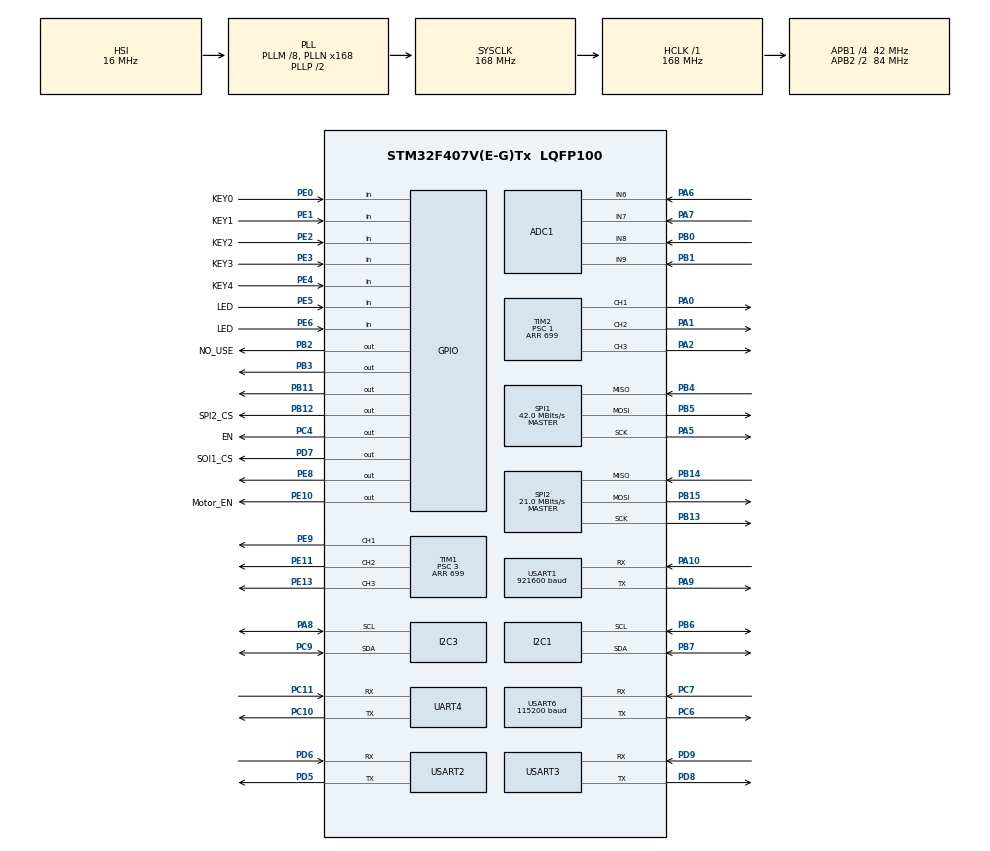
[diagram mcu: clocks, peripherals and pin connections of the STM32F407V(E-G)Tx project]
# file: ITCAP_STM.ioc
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ADC1.Channel-0\#ChannelRegularConversion=ADC_CHANNEL_6
ADC1.Channel-1\#ChannelRegularConversion=ADC_CHANNEL_7
ADC1.Channel-2\#ChannelRegularConversion=ADC_CHANNEL_8
ADC1.Channel-3\#ChannelRegularConversion=ADC_CHANNEL_9
ADC1.ClockPrescaler=ADC_CLOCK_SYNC_PCLK_DIV6
ADC1.ExternalTrigConv=ADC_EXTERNALTRIGCONV_T3_CC1
ADC1.NbrOfConversion=4
ADC1.NbrOfConversionFlag=1
ADC1.Rank-0\#ChannelRegularConversion=1
ADC1.Rank-1\#ChannelRegularConversion=2
ADC1.Rank-2\#ChannelRegularConversion=3
ADC1.Rank-3\#ChannelRegularConversion=4
ADC1.SamplingTime-0\#ChannelRegularConversion=ADC_SAMPLETIME_3CYCLES
ADC1.SamplingTime-1\#ChannelRegularConversion=ADC_SAMPLETIME_3CYCLES
ADC1.SamplingTime-2\#ChannelRegularConversion=ADC_SAMPLETIME_3CYCLES
ADC1.SamplingTime-3\#ChannelRegularConversion=ADC_SAMPLETIME_3CYCLES
ADC1.ScanConvMode=ENABLE
ADC1.master=1
Dma.ADC1.0.Direction=DMA_PERIPH_TO_MEMORY
Dma.ADC1.0.FIFOMode=DMA_FIFOMODE_DISABLE
Dma.ADC1.0.Instance=DMA2_Stream0
Dma.ADC1.0.MemDataAlignment=DMA_MDATAALIGN_HALFWORD
Dma.ADC1.0.MemInc=DMA_MINC_ENABLE
Dma.ADC1.0.Mode=DMA_NORMAL
Dma.ADC1.0.PeriphDataAlignment=DMA_PDATAALIGN_HALFWORD
Dma.ADC1.0.PeriphInc=DMA_PINC_DISABLE
Dma.ADC1.0.Priority=DMA_PRIORITY_HIGH
Dma.Request0=ADC1
Dma.Request1=USART1_TX
Dma.Request2=USART1_RX
Dma.USART1_RX.2.Direction=DMA_PERIPH_TO_MEMORY
Dma.USART1_RX.2.FIFOMode=DMA_FIFOMODE_DISABLE
Dma.USART1_RX.2.Instance=DMA2_Stream2
Dma.USART1_RX.2.MemDataAlignment=DMA_MDATAALIGN_BYTE
Dma.USART1_RX.2.MemInc=DMA_MINC_ENABLE
Dma.USART1_RX.2.Mode=DMA_NORMAL
Dma.USART1_RX.2.PeriphDataAlignment=DMA_PDATAALIGN_BYTE
Dma.USART1_RX.2.PeriphInc=DMA_PINC_DISABLE
Dma.USART1_RX.2.Priority=DMA_PRIORITY_HIGH
Dma.USART1_TX.1.Direction=DMA_MEMORY_TO_PERIPH
Dma.USART1_TX.1.FIFOMode=DMA_FIFOMODE_DISABLE
Dma.USART1_TX.1.Instance=DMA2_Stream7
Dma.USART1_TX.1.MemDataAlignment=DMA_MDATAALIGN_BYTE
Dma.USART1_TX.1.MemInc=DMA_MINC_ENABLE
Dma.USART1_TX.1.Mode=DMA_NORMAL
Dma.USART1_TX.1.PeriphDataAlignment=DMA_PDATAALIGN_BYTE
Dma.USART1_TX.1.PeriphInc=DMA_PINC_DISABLE
Dma.USART1_TX.1.Priority=DMA_PRIORITY_LOW
FREERTOS.Tasks01=defaultTask,24,128,StartDefaultTask,Default,NULL,Dynamic,NULL,NULL
I2C1.I2C_Mode=I2C_Fast
Mcu.Family=STM32F4
Mcu.Name=STM32F407V(E-G)Tx
Mcu.Package=LQFP100
NVIC.DMA2_Stream0_IRQn=true\:5\:0\:false\:false\:true\:true\:false\:true\:true
NVIC.DMA2_Stream2_IRQn=true\:5\:0\:false\:false\:true\:true\:false\:true\:true
NVIC.DMA2_Stream7_IRQn=true\:5\:0\:false\:false\:true\:true\:false\:true\:true
NVIC.PriorityGroup=NVIC_PRIORITYGROUP_4
NVIC.TIM7_IRQn=true\:15\:0\:false\:false\:true\:false\:false\:true\:true
NVIC.TimeBase=TIM7_IRQn
NVIC.TimeBaseIP=TIM7
NVIC.USART1_IRQn=true\:5\:0\:true\:false\:true\:true\:true\:true\:true
NVIC.USART2_IRQn=true\:8\:0\:true\:false\:true\:true\:true\:true\:true
NVIC.USART6_IRQn=true\:8\:0\:true\:false\:true\:true\:true\:true\:true
PA0-WKUP.Signal=S_TIM2_CH1_ETR
PA1.Signal=S_TIM2_CH2
PA10.Mode=Asynchronous
PA10.Signal=USART1_RX
PA13.Mode=Serial_Wire
PA13.Signal=SYS_JTMS-SWDIO
PA14.Mode=Serial_Wire
PA14.Signal=SYS_JTCK-SWCLK
PA2.Signal=S_TIM2_CH3
PA5.Mode=Full_Duplex_Master
PA5.Signal=SPI1_SCK
PA6.Signal=ADCx_IN6
PA7.Signal=ADCx_IN7
PA8.Mode=I2C
PA8.Signal=I2C3_SCL
PA9.Mode=Asynchronous
PA9.Signal=USART1_TX
PB0.Signal=ADCx_IN8
PB1.Signal=ADCx_IN9
PB11.Signal=GPIO_Output
PB12.GPIO_Label=SPI2_CS
PB12.Signal=GPIO_Output
PB13.Mode=Full_Duplex_Master
PB13.Signal=SPI2_SCK
PB14.Mode=Full_Duplex_Master
PB14.Signal=SPI2_MISO
PB15.Mode=Full_Duplex_Master
PB15.Signal=SPI2_MOSI
PB2.GPIO_Label=NO_USE
PB2.Signal=GPIO_Output
PB3.Signal=GPIO_Output
PB4.Mode=Full_Duplex_Master
PB4.Signal=SPI1_MISO
PB5.Mode=Full_Duplex_Master
PB5.Signal=SPI1_MOSI
PB6.Mode=I2C
PB6.Signal=I2C1_SCL
PB7.Mode=I2C
PB7.Signal=I2C1_SDA
PC10.Mode=Asynchronous
PC10.Signal=UART4_TX
PC11.Mode=Asynchronous
PC11.Signal=UART4_RX
PC4.GPIO_Label=EN
PC4.Signal=GPIO_Output
PC6.Mode=Asynchronous
PC6.Signal=USART6_TX
PC7.Mode=Asynchronous
PC7.Signal=USART6_RX
PC9.Mode=I2C
PC9.Signal=I2C3_SDA
PD5.Mode=Asynchronous
PD5.Signal=USART2_TX
PD6.Mode=Asynchronous
PD6.Signal=USART2_RX
PD7.GPIO_Label=SOI1_CS
PD7.Signal=GPIO_Output
PD8.Mode=Asynchronous
PD8.Signal=USART3_TX
PD9.Mode=Asynchronous
PD9.Signal=USART3_RX
PE0.GPIO_Label=KEY0
PE0.Signal=GPIO_Input
PE1.GPIO_Label=KEY1
PE1.Signal=GPIO_Input
PE10.GPIO_Label=Motor_EN
PE10.Signal=GPIO_Output
PE11.Signal=S_TIM1_CH2
PE13.Signal=S_TIM1_CH3
PE2.GPIO_Label=KEY2
PE2.Signal=GPIO_Input
PE3.GPIO_Label=KEY3
PE3.Signal=GPIO_Input
PE4.GPIO_Label=KEY4
PE4.Signal=GPIO_Input
PE5.GPIO_Label=LED
PE5.Signal=GPIO_Input
PE6.GPIO_Label=LED
PE6.Signal=GPIO_Input
PE8.Signal=GPIO_Output
PE9.Signal=S_TIM1_CH1
PH0-OSC_IN.Mode=HSE-External-Oscillator
PH0-OSC_IN.Signal=RCC_OSC_IN
PH1-OSC_OUT.Mode=HSE-External-Oscillator
PH1-OSC_OUT.Signal=RCC_OSC_OUT
ProjectManager.HeapSize=0x200
ProjectManager.StackSize=0x400
ProjectManager.TargetToolchain=CMake
RCC.48MHZClocksFreq_Value=84000000
RCC.AHBFreq_Value=168000000
RCC.APB1CLKDivider=RCC_HCLK_DIV4
RCC.APB1Freq_Value=42000000
RCC.APB1TimFreq_Value=84000000
RCC.APB2CLKDivider=RCC_HCLK_DIV2
RCC.APB2Freq_Value=84000000
RCC.APB2TimFreq_Value=168000000
RCC.CortexFreq_Value=168000000
RCC.HCLKFreq_Value=168000000
RCC.HSE_VALUE=8000000
RCC.HSI_VALUE=16000000
RCC.LSE_VALUE=32768
RCC.PLLM=8
RCC.PLLN=168
RCC.SYSCLKFreq_VALUE=168000000
RCC.SYSCLKSource=RCC_SYSCLKSOURCE_PLLCLK
RCC.VCOOutputFreq_Value=336000000
SH.ADCx_IN6.0=ADC1_IN6,IN6
SH.ADCx_IN7.0=ADC1_IN7,IN7
SH.ADCx_IN8.0=ADC1_IN8,IN8
SH.ADCx_IN9.0=ADC1_IN9,IN9
SH.S_TIM1_CH1.0=TIM1_CH1,PWM Generation1 CH1
SH.S_TIM1_CH2.0=TIM1_CH2,PWM Generation2 CH2
SH.S_TIM1_CH3.0=TIM1_CH3,PWM Generation3 CH3
SH.S_TIM2_CH1_ETR.0=TIM2_CH1,PWM Generation1 CH1
SH.S_TIM2_CH2.0=TIM2_CH2,PWM Generation2 CH2
SH.S_TIM2_CH3.0=TIM2_CH3,PWM Generation3 CH3
SPI1.CalculateBaudRate=42.0 MBits/s
SPI1.Direction=SPI_DIRECTION_2LINES
SPI1.Mode=SPI_MODE_MASTER
SPI1.VirtualType=VM_MASTER
SPI2.CLKPolarity=SPI_POLARITY_LOW
SPI2.CalculateBaudRate=21.0 MBits/s
SPI2.DataSize=SPI_DATASIZE_8BIT
SPI2.Direction=SPI_DIRECTION_2LINES
SPI2.Mode=SPI_MODE_MASTER
SPI2.VirtualType=VM_MASTER
TIM1.Channel-PWM\ Generation1\ CH1=TIM_CHANNEL_1
TIM1.Channel-PWM\ Generation2\ CH2=TIM_CHANNEL_2
TIM1.Channel-PWM\ Generation3\ CH3=TIM_CHANNEL_3
TIM1.CounterMode=TIM_COUNTERMODE_CENTERALIGNED1
TIM1.Period=699
TIM1.Prescaler=3
TIM1.TIM_MasterOutputTrigger=TIM_TRGO_UPDATE
TIM2.Channel-PWM\ Generation1\ CH1=TIM_CHANNEL_1
TIM2.Channel-PWM\ Generation2\ CH2=TIM_CHANNEL_2
TIM2.Channel-PWM\ Generation3\ CH3=TIM_CHANNEL_3
TIM2.CounterMode=TIM_COUNTERMODE_CENTERALIGNED1
TIM2.Period=699
TIM2.Prescaler=1
TIM2.TIM_MasterOutputTrigger=TIM_TRGO_UPDATE
TIM3.Period=3
TIM5.Prescaler=83
UART4.VirtualMode=Asynchronous
USART1.BaudRate=921600
USART1.VirtualMode=VM_ASYNC
USART2.VirtualMode=VM_ASYNC
USART3.VirtualMode=VM_ASYNC
USART6.BaudRate=115200
USART6.OverSampling=UART_OVERSAMPLING_16
USART6.VirtualMode=VM_ASYNC
VP_FREERTOS_VS_CMSIS_V2.Mode=CMSIS_V2
VP_SYS_VS_tim7.Mode=TIM7
VP_TIM10_VS_ClockSourceINT.Mode=Enable_Timer
VP_TIM1_VS_ClockSourceINT.Mode=Internal
VP_TIM2_VS_ClockSourceINT.Mode=Internal
VP_TIM2_VS_ClockSourceITR.Mode=TriggerSource_ITR0
VP_TIM2_VS_ControllerModeReset.Mode=Reset Mode
VP_TIM3_VS_ClockSourceITR.Mode=TriggerSource_ITR0
VP_TIM3_VS_ControllerModeClock.Mode=Clock Mode
VP_TIM5_VS_ClockSourceINT.Mode=Internal
VP_TIM6_VS_ClockSourceINT.Mode=Enable_Timer
board=custom

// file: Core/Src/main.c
/* USER CODE BEGIN Header */
/**
  ******************************************************************************
  * @file           : main.c
  * @brief          : Main program body
  ******************************************************************************
  * @attention
  *
  * Copyright (c) 2026 STMicroelectronics.
  * All rights reserved.
  *
  * This software is licensed under terms that can be found in the LICENSE file
  * in the root directory of this software component.
  * If no LICENSE file comes with this software, it is provided AS-IS.
  *
  ******************************************************************************
  */
/* USER CODE END Header */
#include "main.h"
#include "cmsis_os.h"
#include "adc.h"
#include "dma.h"
#include "i2c.h"
#include "spi.h"
#include "tim.h"
#include "usart.h"
#include "gpio.h"

/* USER CODE BEGIN Includes */
#include "OLED.h"
#include "Serial.h"
#include "app_task.h"
#include "check_I.h"
/* USER CODE END Includes */

/* USER CODE BEGIN PV */
/* USART6 DMA 接收缓冲 (CIRCULAR, 陀螺仪) */
uint8_t uart6_rx_buf[256];

/* USART2 DMA 接收缓冲 (视觉) */
uint8_t uart2_rx_buf[256];

/* USER CODE END PV */

void SystemClock_Config(void);
void MX_FREERTOS_Init(void);
/* USER CODE BEGIN PFP */
void FOC_3_period(void);
/* USER CODE END PFP */

/* USER CODE BEGIN 0 */
uint16_t TimeCounter = 0;
uint16_t Time_ms = 0;
uint8_t bottom = 0;
uint16_t BLDC_Delay = 100;
uint8_t B1_static = 0;
uint8_t B2_static = 0;
uint16_t MyADC_Get[4];
uint16_t MyADC_Get_used[4];

uint16_t test1 =0;
uint16_t test2 =0;
uint16_t test3 =0;
uint16_t test_serial =0;
uint16_t count_vl = 0;
uint16_t Count;
uint16_t FOC_count =0;

float GZ;

uint16_t adc_dma_count;

void HAL_ADC_ConvHalfCpltCallback(ADC_HandleTypeDef* hadc)
{
  if(hadc->Instance == ADC1)
  {
    tim_dif_stop(0);
    I_Check_HalfCplt_Handler();

    FOC_3_period();

    static int adc_count = 0;
    adc_count++;
    if (adc_count >= 38) {
      Sin_control();
      ball_balance();
      adc_dma_count++;
      adc_count = 0;
    }
  }
}

void HAL_ADC_ConvCpltCallback(ADC_HandleTypeDef* hadc)
{
  if(hadc->Instance == ADC1)
  {
    tim_dif_start(0);
    I_Check_Cplt_Handler();
    FOC_3_period();
  }

}

uint16_t tim5_count =0;
/* USER CODE END 0 */

int main(void)
{

  /* MCU Configuration--------------------------------------------------------*/

  /* Reset of all peripherals, Initializes the Flash interface and the Systick. */
  HAL_Init();

  /* Configure the system clock */
  SystemClock_Config();

  /* Initialize all configured peripherals */
  MX_GPIO_Init();
  MX_DMA_Init();
  MX_I2C1_Init();
  MX_I2C3_Init();
  MX_SPI1_Init();
  MX_SPI2_Init();
  MX_TIM1_Init();
  MX_TIM2_Init();
  MX_TIM5_Init();
  MX_USART1_UART_Init();
  MX_USART2_UART_Init();
  MX_ADC1_Init();
  MX_TIM10_Init();
  MX_UART4_Init();
  MX_USART3_UART_Init();
  MX_USART6_UART_Init();
  MX_TIM6_Init();
  MX_TIM3_Init();
  /* USER CODE BEGIN 2 */
  HAL_GPIO_WritePin(GPIOA, GPIO_PIN_4, GPIO_PIN_SET);

  // HAL_ADC_Start(&hadc1);
  // HAL_TIM_Base_Start_IT(&htim2);
  // HAL_TIM_Base_Start_IT(&htim5); // 不再需要 TIM5, 改用 TIM3 触发 ADC

  I_Check_Init();
  I_Check_Start();

  // MT6816_Init();
  /* V3P 驱动使能 PE8 (DRV8313 共用一个 EN) */
  __HAL_RCC_GPIOE_CLK_ENABLE();
  GPIO_InitTypeDef en_gpio = {0};
  en_gpio.Pin   = GPIO_PIN_8;
  en_gpio.Mode  = GPIO_MODE_OUTPUT_PP;
  en_gpio.Pull  = GPIO_NOPULL;
  en_gpio.Speed = GPIO_SPEED_FREQ_LOW;
  HAL_GPIO_Init(GPIOE, &en_gpio);
  HAL_GPIO_WritePin(GPIOE, GPIO_PIN_8, GPIO_PIN_RESET);  // 先禁止使能

  App_Task_Create();
  // MPU6050_Init();
  /* USER CODE END 2 */

  /* Init scheduler */
  osKernelInitialize();  /* Call init function for freertos objects (in cmsis_os2.c) */
  MX_FREERTOS_Init();

  /* Start scheduler */
  osKernelStart();

  /* We should never get here as control is now taken by the scheduler */

  /* Infinite loop */
  while (1)
  {

  }
}

void SystemClock_Config(void)
{
  RCC_OscInitTypeDef RCC_OscInitStruct = {0};
  RCC_ClkInitTypeDef RCC_ClkInitStruct = {0};

  /** Configure the main internal regulator output voltage
  */
  __HAL_RCC_PWR_CLK_ENABLE();
  __HAL_PWR_VOLTAGESCALING_CONFIG(PWR_REGULATOR_VOLTAGE_SCALE1);

  /** Initializes the RCC Oscillators according to the specified parameters
  * in the RCC_OscInitTypeDef structure.
  */
  RCC_OscInitStruct.OscillatorType = RCC_OSCILLATORTYPE_HSI;
  RCC_OscInitStruct.HSIState = RCC_HSI_ON;
  RCC_OscInitStruct.HSICalibrationValue = RCC_HSICALIBRATION_DEFAULT;
  RCC_OscInitStruct.PLL.PLLState = RCC_PLL_ON;
  RCC_OscInitStruct.PLL.PLLSource = RCC_PLLSOURCE_HSI;
  RCC_OscInitStruct.PLL.PLLM = 8;
  RCC_OscInitStruct.PLL.PLLN = 168;
  RCC_OscInitStruct.PLL.PLLP = RCC_PLLP_DIV2;
  RCC_OscInitStruct.PLL.PLLQ = 4;
  if (HAL_RCC_OscConfig(&RCC_OscInitStruct) != HAL_OK)
  {
    Error_Handler();
  }

  /** Initializes the CPU, AHB and APB buses clocks
  */
  RCC_ClkInitStruct.ClockType = RCC_CLOCKTYPE_HCLK|RCC_CLOCKTYPE_SYSCLK
                              |RCC_CLOCKTYPE_PCLK1|RCC_CLOCKTYPE_PCLK2;
  RCC_ClkInitStruct.SYSCLKSource = RCC_SYSCLKSOURCE_PLLCLK;
  RCC_ClkInitStruct.AHBCLKDivider = RCC_SYSCLK_DIV1;
  RCC_ClkInitStruct.APB1CLKDivider = RCC_HCLK_DIV4;
  RCC_ClkInitStruct.APB2CLKDivider = RCC_HCLK_DIV2;

  if (HAL_RCC_ClockConfig(&RCC_ClkInitStruct, FLASH_LATENCY_5) != HAL_OK)
  {
    Error_Handler();
  }
}

void HAL_TIM_PeriodElapsedCallback(TIM_HandleTypeDef *htim)
{
  /* USER CODE BEGIN Callback 0 */
  //100Hz
  if (htim->Instance == TIM2) {
    TimeCounter++;
    static uint16_t Second_count = 0;
    Second_count++;

    // Serial_Printf("[plot,%d]",(int)(Speed_rad_MT6816*100));

  }
  //1000Hz
  if (htim->Instance == TIM10) {
    Time_ms ++;

    if (Time_ms > BLDC_Delay) {
      Time_ms = 0;
      // if (HAL_GPIO_ReadPin(GPIOB, GPIO_PIN_10) == GPIO_PIN_SET) {
      //   FOC_state = 2;
      //   Count++;
      // }
      // else{FOC_state = 0;}
      // if (FOC_state == 1) {
      //
      // }
      // else {
      //
      // }
    }

  }
  //15kHz电机控制周期
  if (htim->Instance == TIM5) {
    static uint16_t tim3_count =0;
    tim3_count++;
    if (tim3_count > 15000) {
    tim5_count++;
      FOC_count++;
      tim3_count = 0;
    }
    // FOC_period();
    HAL_GPIO_WritePin(GPIOC, GPIO_PIN_4  , GPIO_PIN_SET);

    // __HAL_TIM_SetCompare(&htim1, TIM_CHANNEL_3, 500);
    // __HAL_TIM_SetCompare(&htim1, TIM_CHANNEL_1, 0);
    // __HAL_TIM_SetCompare(&htim1, TIM_CHANNEL_2, 200);

  }

  /* USER CODE END Callback 0 */
  if (htim->Instance == TIM7)
  {
    HAL_IncTick();
  }
}

void Error_Handler(void)
{
  __disable_irq();
  while (1)
  {
  }
}
